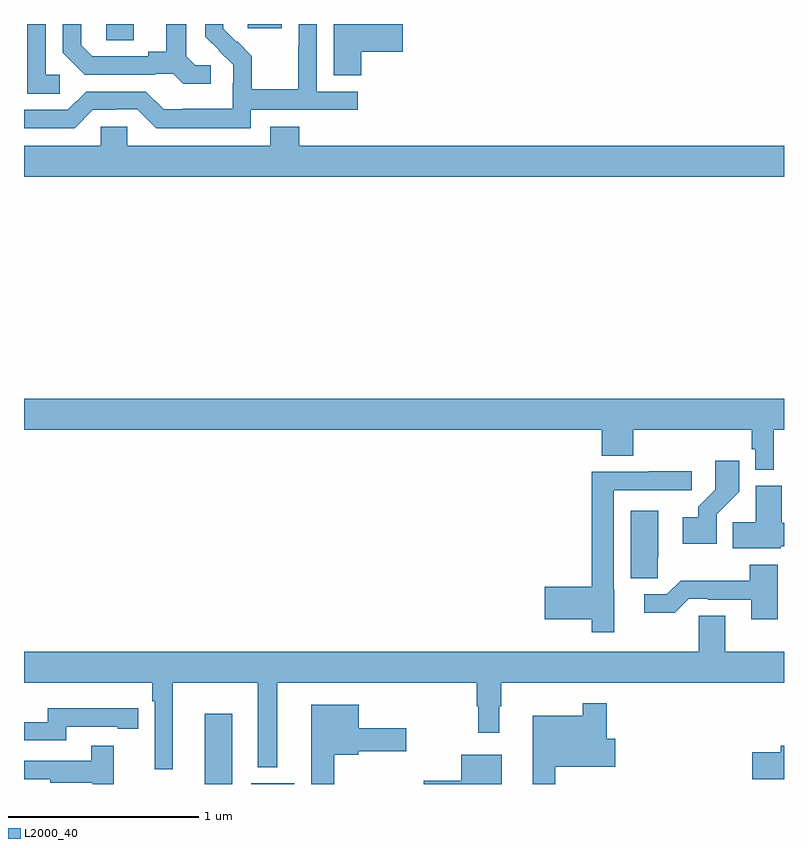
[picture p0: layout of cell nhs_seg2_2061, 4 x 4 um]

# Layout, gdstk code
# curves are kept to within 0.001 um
import gdstk
lib = gdstk.Library(unit=1e-6, precision=1e-09)
def R(c, l, rs):  # rectangles x0, y0, x1, y1
    for r in rs: c.add(gdstk.rectangle(r[:2], r[2:], *l))
def P(c, l, *ps):  # polygons
    for p in ps: c.add(gdstk.Polygon(p, *l))
L2000_40 = (2000, 40)

nhs_seg2_2061 = lib.new_cell('nhs_seg2_2061')
R(nhs_seg2_2061, L2000_40, [(219.95,617.8,220.096,618.169), (220.196,617.8,220.423,617.803), (219.432,621.715,219.577,621.8), (220.178,621.777,220.357,621.8)])
P(nhs_seg2_2061, L2000_40, [(219.187,621.534),(219.114,621.534),(219.114,621.8),(219.018,621.8),(219.018,621.433),(219.187,621.433)],
  [(219.982,621.582),(219.9,621.582),(219.853,621.629),(219.853,621.8),(219.749,621.8),(219.749,621.653),(219.653,621.653),(219.653,621.63),(219.358,621.63),(219.301,621.687),(219.301,621.8),(219.204,621.8),(219.204,621.65),(219.32,621.534),(219.692,621.534),(219.692,621.537),(219.786,621.537),(219.838,621.485),(219.982,621.485)],
  [(220.194,621.348),(220.756,621.348),(220.756,621.444),(220.542,621.444),(220.542,621.8),(220.446,621.8),(220.446,621.68),(220.444,621.68),(220.444,621.457),(220.199,621.457),(220.199,621.631),(220.122,621.708),(220.119,621.705),(220.049,621.776),(220.049,621.8),(219.954,621.8),(219.954,621.734),(220.1,621.586),(220.1,621.489),(220.098,621.489),(220.098,621.355),(219.835,621.355),(219.835,621.351),(219.735,621.351),(219.642,621.444),(219.327,621.444),(219.231,621.348),(219,621.348),(219,621.252),(219.267,621.252),(219.363,621.348),(219.482,621.348),(219.482,621.351),(219.597,621.351),(219.697,621.251),(220.194,621.251)],
  [(220.775,621.653),(220.993,621.653),(220.993,621.8),(220.631,621.8),(220.631,621.529),(220.775,621.529)],
  [(223,621.16),(220.448,621.16),(220.448,621.259),(220.295,621.259),(220.295,621.16),(219.543,621.16),(219.543,621.258),(219.405,621.258),(219.405,621.16),(219,621.16),(219,620.996),(223,620.996)],
  [(222.946,619.664),(223,619.664),(223,619.828),(219,619.828),(219,619.664),(222.041,619.664),(222.041,619.528),(222.206,619.528),(222.206,619.664),(222.829,619.664),(222.829,619.563),(222.849,619.563),(222.849,619.454),(222.946,619.454)],
  [(222.645,619.219),(222.764,619.338),(222.764,619.501),(222.639,619.501),(222.639,619.349),(222.548,619.259),(222.548,619.204),(222.468,619.204),(222.468,619.064),(222.645,619.064)],
  [(222.106,618.822),(222.105,618.822),(222.105,619.347),(222.514,619.347),(222.514,619.446),(222.289,619.446),(222.289,619.443),(221.989,619.443),(221.989,618.839),(221.742,618.839),(221.742,618.668),(221.989,618.668),(221.989,618.6),(222.106,618.6)],
  [(222.984,619.052),(223,619.052),(223,619.174),(222.988,619.174),(222.988,619.369),(222.851,619.369),(222.851,619.178),(222.73,619.178),(222.73,619.04),(222.984,619.04)],
  [(222.336,618.994),(222.337,618.994),(222.337,619.237),(222.194,619.237),(222.194,618.883),(222.336,618.883)],
  [(222.967,618.955),(222.82,618.955),(222.82,618.871),(222.457,618.871),(222.384,618.798),(222.264,618.798),(222.264,618.701),(222.425,618.701),(222.498,618.774),(222.598,618.774),(222.598,618.771),(222.827,618.771),(222.827,618.666),(222.967,618.666)],
  [(219,618.332),(219.674,618.332),(219.674,618.236),(219.687,618.236),(219.687,617.877),(219.784,617.877),(219.784,618.332),(220.229,618.332),(220.229,617.888),(220.333,617.888),(220.333,618.332),(221.383,618.332),(221.383,618.209),(221.391,618.209),(221.391,618.069),(221.5,618.069),(221.5,618.209),(221.512,618.209),(221.512,618.332),(223,618.332),(223,618.496),(222.691,618.496),(222.691,618.686),(222.552,618.686),(222.552,618.496),(219,618.496)],
  [(221.795,617.891),(222.112,617.891),(222.112,618.039),(222.068,618.039),(222.068,618.226),(221.94,618.226),(221.94,618.16),(221.678,618.16),(221.678,617.8),(221.795,617.8)],
  [(220.633,617.954),(220.758,617.954),(220.758,617.972),(221.011,617.972),(221.011,618.094),(220.762,618.094),(220.762,618.217),(220.511,618.217),(220.511,617.8),(220.633,617.8)],
  [(219.222,618.102),(219.494,618.102),(219.494,618.09),(219.602,618.09),(219.602,618.198),(219.494,618.198),(219.494,618.199),(219.126,618.199),(219.126,618.126),(219,618.126),(219,618.03),(219.222,618.03)],
  [(223,618.001),(222.983,618.001),(222.983,617.967),(222.834,617.967),(222.834,617.825),(223,617.825)],
  [(219.472,618.001),(219.355,618.001),(219.355,617.922),(219,617.922),(219,617.826),(219.139,617.826),(219.139,617.806),(219.363,617.806),(219.363,617.8),(219.472,617.8)],
  [(221.515,617.953),(221.3,617.953),(221.3,617.816),(221.104,617.816),(221.104,617.8),(221.515,617.8)])

lib.write_gds('nhs_seg2_2061.gds')
